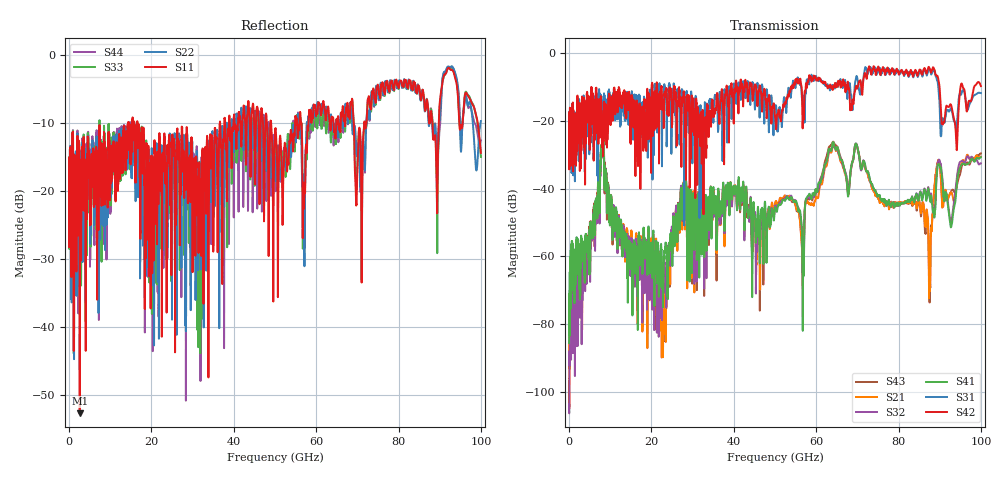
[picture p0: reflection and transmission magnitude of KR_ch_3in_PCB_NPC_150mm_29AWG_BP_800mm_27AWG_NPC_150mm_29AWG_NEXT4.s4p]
# GHz S RI R 45
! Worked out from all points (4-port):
!   4000 points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, 25 MHz to 100 GHz, reference 45 ohm
!   strongest paths, dB at 25 MHz, 25.02 GHz, 50.02 GHz, 75.03 GHz, 100 GHz:
!     S42: -22.2, -20.8, -18.7, -4.1, -9.8
!     S31: -22.1, -12.8, -15.7, -5.1, -11.8
!     S41: -85.5, -59.0, -45.5, -41.9, -30.7
!     S32: -103.7, -53.4, -45.2, -41.9, -32.5
!     S21: -101.6, -55.7, -44.3, -42.8, -30.6
!     S43: -100.6, -55.8, -44.7, -42.6, -29.6
!   lowest |S11| = -52.6 dB at 2.6 GHz (marker M1), VSWR 1.00, Z = 45.1 + j0.177 ohm
!   |S11| at or under -10 dB: start of sweep to 14.33 GHz; 16.58 GHz to 36.63 GHz (20.05 GHz wide, 75.4 % of centre); 49.07 GHz to 54.88 GHz (5.815 GHz wide, 11.2 % of centre)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
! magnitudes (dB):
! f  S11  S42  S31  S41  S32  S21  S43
! 25 MHz  -17.4  -22.2  -22.1  -85.5  -103.7  -101.6  -100.6
! 2.6 GHz  -52.6  -27.8  -31.5  -61.5  -63.9  -62.1  -61.3
! 8.1 GHz  -13.0  -19.0  -19.2  -29.1  -29.9  -29.4  -30.0
! 22.98 GHz  -14.5  -20.7  -11.7  -64.5  -63.0  -65.9  -66.9
! 28.05 GHz  -18.4  -15.5  -19.6  -46.7  -45.9  -47.9  -45.3
! 87.6 GHz  -9.9  -4.6  -4.9  -42.8  -42.5  -69.9  -69.6
! 100 GHz  -14.4  -9.8  -11.8  -30.7  -32.5  -30.6  -29.6
